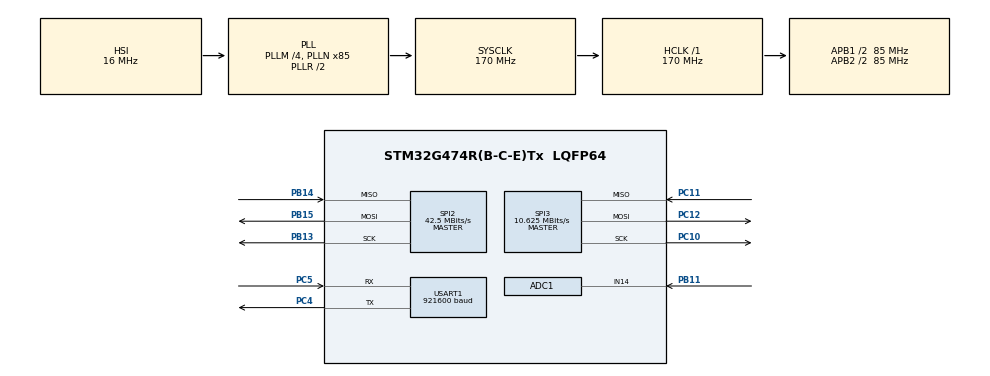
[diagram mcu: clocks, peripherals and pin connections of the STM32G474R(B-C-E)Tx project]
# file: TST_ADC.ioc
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ADC1.Channel-1\#ChannelRegularConversion=ADC_CHANNEL_14
ADC1.ContinuousConvMode=DISABLE
ADC1.DMAContinuousRequests=ENABLE
ADC1.ExternalTrigConv=ADC_EXTERNALTRIG_T3_TRGO
ADC1.NbrOfConversionFlag=1
ADC1.OffsetNumber-1\#ChannelRegularConversion=ADC_OFFSET_NONE
ADC1.Rank-1\#ChannelRegularConversion=1
ADC1.SamplingTime-1\#ChannelRegularConversion=ADC_SAMPLETIME_47CYCLES_5
ADC1.master=1
Dma.ADC1.0.Direction=DMA_PERIPH_TO_MEMORY
Dma.ADC1.0.EventEnable=DISABLE
Dma.ADC1.0.Instance=DMA1_Channel1
Dma.ADC1.0.MemDataAlignment=DMA_MDATAALIGN_HALFWORD
Dma.ADC1.0.MemInc=DMA_MINC_ENABLE
Dma.ADC1.0.Mode=DMA_CIRCULAR
Dma.ADC1.0.PeriphDataAlignment=DMA_PDATAALIGN_HALFWORD
Dma.ADC1.0.PeriphInc=DMA_PINC_DISABLE
Dma.ADC1.0.Polarity=HAL_DMAMUX_REQ_GEN_RISING
Dma.ADC1.0.Priority=DMA_PRIORITY_LOW
Dma.ADC1.0.RequestNumber=1
Dma.ADC1.0.SignalID=NONE
Dma.ADC1.0.SyncEnable=DISABLE
Dma.ADC1.0.SyncPolarity=HAL_DMAMUX_SYNC_NO_EVENT
Dma.ADC1.0.SyncRequestNumber=1
Dma.ADC1.0.SyncSignalID=NONE
Dma.Request0=ADC1
Dma.Request1=USART1_TX
Dma.USART1_TX.1.Direction=DMA_MEMORY_TO_PERIPH
Dma.USART1_TX.1.EventEnable=DISABLE
Dma.USART1_TX.1.Instance=DMA1_Channel2
Dma.USART1_TX.1.MemDataAlignment=DMA_MDATAALIGN_BYTE
Dma.USART1_TX.1.MemInc=DMA_MINC_ENABLE
Dma.USART1_TX.1.Mode=DMA_NORMAL
Dma.USART1_TX.1.PeriphDataAlignment=DMA_PDATAALIGN_BYTE
Dma.USART1_TX.1.PeriphInc=DMA_PINC_DISABLE
Dma.USART1_TX.1.Polarity=HAL_DMAMUX_REQ_GEN_RISING
Dma.USART1_TX.1.Priority=DMA_PRIORITY_LOW
Dma.USART1_TX.1.RequestNumber=1
Dma.USART1_TX.1.SignalID=NONE
Dma.USART1_TX.1.SyncEnable=DISABLE
Dma.USART1_TX.1.SyncPolarity=HAL_DMAMUX_SYNC_NO_EVENT
Dma.USART1_TX.1.SyncRequestNumber=1
Dma.USART1_TX.1.SyncSignalID=NONE
Mcu.Family=STM32G4
Mcu.Name=STM32G474R(B-C-E)Tx
Mcu.Package=LQFP64
NVIC.DMA1_Channel1_IRQn=true\:0\:0\:false\:false\:true\:false\:true\:true
NVIC.DMA1_Channel2_IRQn=true\:0\:0\:false\:false\:true\:false\:true\:true
NVIC.PriorityGroup=NVIC_PRIORITYGROUP_4
PA13.Mode=Serial_Wire
PA13.Signal=SYS_JTMS-SWDIO
PA14.Mode=Serial_Wire
PA14.Signal=SYS_JTCK-SWCLK
PB11.Mode=IN14-Single-Ended
PB11.Signal=ADC1_IN14
PB13.Mode=Full_Duplex_Master
PB13.Signal=SPI2_SCK
PB14.Mode=Full_Duplex_Master
PB14.Signal=SPI2_MISO
PB15.Mode=Full_Duplex_Master
PB15.Signal=SPI2_MOSI
PC10.Mode=Full_Duplex_Master
PC10.Signal=SPI3_SCK
PC11.Mode=Full_Duplex_Master
PC11.Signal=SPI3_MISO
PC12.Mode=Full_Duplex_Master
PC12.Signal=SPI3_MOSI
PC14-OSC32_IN.Mode=LSE-External-Oscillator
PC14-OSC32_IN.Signal=RCC_OSC32_IN
PC15-OSC32_OUT.Mode=LSE-External-Oscillator
PC15-OSC32_OUT.Signal=RCC_OSC32_OUT
PC4.Mode=Asynchronous
PC4.Signal=USART1_TX
PC5.Mode=Asynchronous
PC5.Signal=USART1_RX
PF0-OSC_IN.Mode=HSE-External-Oscillator
PF0-OSC_IN.Signal=RCC_OSC_IN
PF1-OSC_OUT.Mode=HSE-External-Oscillator
PF1-OSC_OUT.Signal=RCC_OSC_OUT
ProjectManager.HeapSize=0x200
ProjectManager.StackSize=0x400
ProjectManager.TargetToolchain=MDK-ARM V5.32
RCC.ADC12Freq_Value=170000000
RCC.ADC345Freq_Value=170000000
RCC.AHBFreq_Value=170000000
RCC.APB1CLKDivider=RCC_HCLK_DIV2
RCC.APB1Freq_Value=85000000
RCC.APB1TimFreq_Value=170000000
RCC.APB2CLKDivider=RCC_HCLK_DIV2
RCC.APB2Freq_Value=85000000
RCC.APB2TimFreq_Value=170000000
RCC.CortexFreq_Value=170000000
RCC.EXTERNAL_CLOCK_VALUE=12288000
RCC.HCLKFreq_Value=170000000
RCC.HSE_VALUE=8000000
RCC.HSI48_VALUE=48000000
RCC.HSI_VALUE=16000000
RCC.PLLM=RCC_PLLM_DIV4
RCC.PLLN=85
RCC.SYSCLKFreq_VALUE=170000000
RCC.SYSCLKSource=RCC_SYSCLKSOURCE_PLLCLK
RCC.USBFreq_Value=170000000
RCC.VCOOutputFreq_Value=340000000
SPI2.CalculateBaudRate=42.5 MBits/s
SPI2.Direction=SPI_DIRECTION_2LINES
SPI2.Mode=SPI_MODE_MASTER
SPI2.VirtualType=VM_MASTER
SPI3.BaudRatePrescaler=SPI_BAUDRATEPRESCALER_8
SPI3.CalculateBaudRate=10.625 MBits/s
SPI3.DataSize=SPI_DATASIZE_8BIT
SPI3.Direction=SPI_DIRECTION_2LINES
SPI3.Mode=SPI_MODE_MASTER
SPI3.VirtualType=VM_MASTER
TIM3.AutoReloadPreload=TIM_AUTORELOAD_PRELOAD_ENABLE
TIM3.PeriodNoDither=10
TIM3.Prescaler=85
TIM3.TIM_MasterOutputTrigger=TIM_TRGO_UPDATE
USART1.BaudRate=921600
USART1.FIFOMode=FIFOMODE_DISABLE
USART1.VirtualMode-Asynchronous=VM_ASYNC
VP_SYS_VS_DBSignals.Mode=DisableDeadBatterySignals
VP_TIM3_VS_ClockSourceINT.Mode=Internal
board=custom

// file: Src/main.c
/* USER CODE BEGIN Header */
/**
  ******************************************************************************
  * @file           : main.c
  * @brief          : ASK Receiver Main Program
  ******************************************************************************
  * @attention
  *
  * Copyright (c) 2024 STMicroelectronics.
  * All rights reserved.
  *
  * This software is licensed under terms that can be found in the LICENSE file
  * in the root directory of this software component.
  * If no LICENSE file comes with this software, it is provided AS-IS.
  *
  ******************************************************************************
  */
/* USER CODE END Header */

#include "main.h"
#include "adc.h"
#include "dma.h"
#include "spi.h"
#include "tim.h"
#include "usart.h"
#include "gpio.h"

/* USER CODE BEGIN Includes */
#include "led.h"
#include "lcd_display.h"
#include <stdlib.h>
#include <string.h>
#include "signal_processor.h"
#include "SPI_FLASH.h"
/* USER CODE END Includes */

void SystemClock_Config(void);

/* USER CODE BEGIN 0 */

/* Yield回调：LCD渲染期间调用，处理挂起的帧，防止丢帧 */
static void RxYield(void)
{
  SignalStats_t ystats;
  SignalProcessor_GetStats(&ystats);
  if (ystats.frame_ready)
  {
    RxFrame_t yframe;
    SignalProcessor_GetFrame(&yframe);
    if (yframe.crc_ok)
      LCDDisplay_OnFrame(yframe.type, yframe.payload, yframe.len);
  }
}

/* USER CODE END 0 */

int main(void)
{

  /* MCU Configuration--------------------------------------------------------*/

  /* Reset of all peripherals, Initializes the Flash interface and the Systick. */
  HAL_Init();

  /* Configure the system clock */
  SystemClock_Config();

  /* Initialize all configured peripherals */
  MX_GPIO_Init();
  MX_DMA_Init();
  MX_SPI2_Init();
  MX_SPI3_Init();
  MX_ADC1_Init();
  MX_TIM3_Init();
  MX_USART1_UART_Init();
  /* USER CODE BEGIN 2 */

  /* Initialize LCD display and signal processor */
  LED_Init();
  Button_GPIO_Init();
  SPI_Flash_init();   /* W25Q16 on SPI3 (PA15 CS) - 外部Flash字库 */
  SignalProcessor_Init();
  LCDDisplay_Init();
  LCDDisplay_SetYieldFn(RxYield);  /* 注册yield回调，LCD渲染期间处理挂起帧 */

  /* Start TIM3 to trigger ADC - Begin receiving */
  HAL_TIM_Base_Start(&htim3);

  /* USER CODE END 2 */

  /* Infinite loop */
  /* USER CODE BEGIN WHILE */
  SignalStats_t stats;

  while (1)
  {
    /* Check for new valid frame and feed to GUI */
    SignalProcessor_GetStats(&stats);
    if (stats.frame_ready)
    {
      RxFrame_t frame;
      SignalProcessor_GetFrame(&frame);
      if (frame.crc_ok)
        LCDDisplay_OnFrame(frame.type, frame.payload, frame.len);
    }

    /* Update display + button scan */
    LCDDisplay_Update(&stats);
    LCDDisplay_Process();
    /* USER CODE END WHILE */

  }
}

void SystemClock_Config(void)
{
  RCC_OscInitTypeDef RCC_OscInitStruct = {0};
  RCC_ClkInitTypeDef RCC_ClkInitStruct = {0};

  /** Configure the main internal regulator output voltage
  */
  HAL_PWREx_ControlVoltageScaling(PWR_REGULATOR_VOLTAGE_SCALE1_BOOST);

  /** Initializes the RCC Oscillators according to the specified parameters
  * in the RCC_OscInitTypeDef structure.
  */
  RCC_OscInitStruct.OscillatorType = RCC_OSCILLATORTYPE_HSI;
  RCC_OscInitStruct.HSIState = RCC_HSI_ON;
  RCC_OscInitStruct.HSICalibrationValue = RCC_HSICALIBRATION_DEFAULT;
  RCC_OscInitStruct.PLL.PLLState = RCC_PLL_ON;
  RCC_OscInitStruct.PLL.PLLSource = RCC_PLLSOURCE_HSI;
  RCC_OscInitStruct.PLL.PLLM = RCC_PLLM_DIV4;
  RCC_OscInitStruct.PLL.PLLN = 85;
  RCC_OscInitStruct.PLL.PLLP = RCC_PLLP_DIV2;
  RCC_OscInitStruct.PLL.PLLQ = RCC_PLLQ_DIV2;
  RCC_OscInitStruct.PLL.PLLR = RCC_PLLR_DIV2;
  if (HAL_RCC_OscConfig(&RCC_OscInitStruct) != HAL_OK)
  {
    Error_Handler();
  }

  /** Initializes the CPU, AHB and APB buses clocks
  */
  RCC_ClkInitStruct.ClockType = RCC_CLOCKTYPE_HCLK|RCC_CLOCKTYPE_SYSCLK
                              |RCC_CLOCKTYPE_PCLK1|RCC_CLOCKTYPE_PCLK2;
  RCC_ClkInitStruct.SYSCLKSource = RCC_SYSCLKSOURCE_PLLCLK;
  RCC_ClkInitStruct.AHBCLKDivider = RCC_SYSCLK_DIV1;
  RCC_ClkInitStruct.APB1CLKDivider = RCC_HCLK_DIV2;
  RCC_ClkInitStruct.APB2CLKDivider = RCC_HCLK_DIV2;

  if (HAL_RCC_ClockConfig(&RCC_ClkInitStruct, FLASH_LATENCY_4) != HAL_OK)
  {
    Error_Handler();
  }
}

void Error_Handler(void)
{
  __disable_irq();
  while (1)
  {
  }
}
